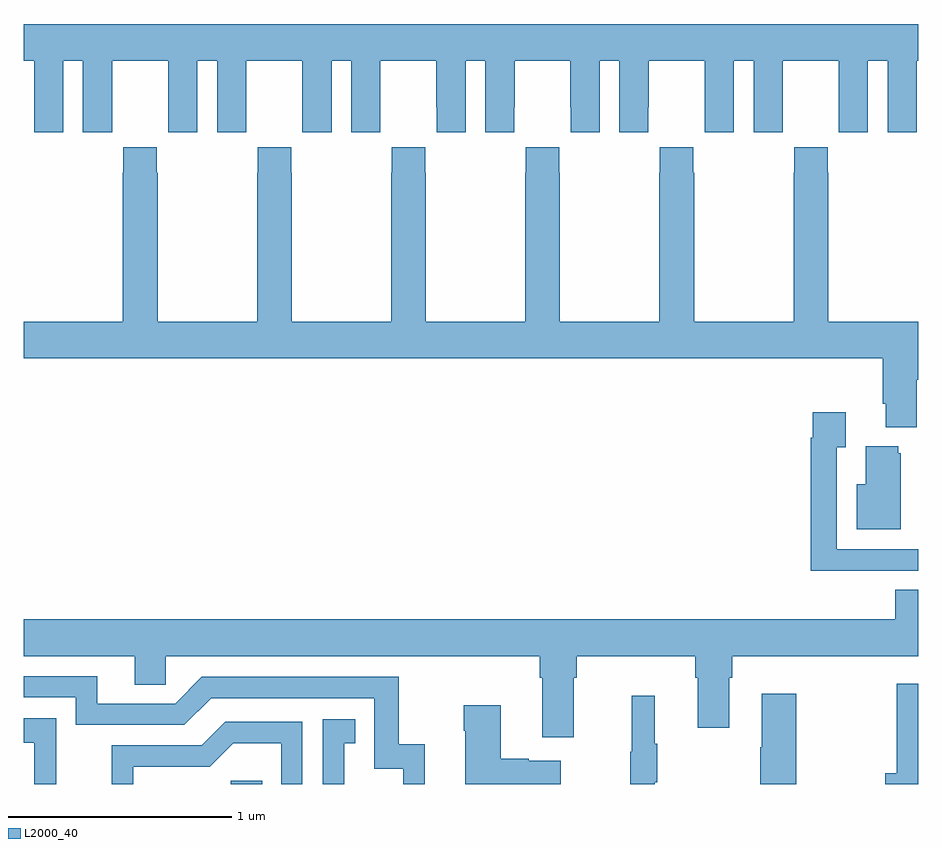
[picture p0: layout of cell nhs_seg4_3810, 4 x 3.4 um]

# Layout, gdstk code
import gdstk
lib = gdstk.Library(unit=1e-6, precision=1e-09)
def R(c, l, rs):  # rectangles x0, y0, x1, y1
    for r in rs: c.add(gdstk.rectangle(r[:2], r[2:], *l))
def P(c, l, *ps):  # polygons
    for p in ps: c.add(gdstk.Polygon(p, *l))
L2000_40 = (2000, 40)

nhs_seg4_3810 = lib.new_cell('nhs_seg4_3810')
R(nhs_seg4_3810, L2000_40, [(311.925,810.9,312.065,810.915)])
P(nhs_seg4_3810, L2000_40, [(311.176,814.136),(311.264,814.136),(311.264,813.816),(311.394,813.816),(311.394,813.928),(311.395,813.928),(311.395,814.136),(311.645,814.136),(311.645,813.928),(311.646,813.928),(311.646,813.816),(311.776,813.816),(311.776,814.136),(311.864,814.136),(311.864,813.816),(311.994,813.816),(311.994,813.928),(311.995,813.928),(311.995,814.136),(312.245,814.136),(312.245,813.928),(312.246,813.928),(312.246,813.816),(312.376,813.816),(312.376,814.136),(312.464,814.136),(312.464,813.816),(312.594,813.816),(312.594,813.928),(312.595,813.928),(312.595,814.136),(312.845,814.136),(312.845,813.928),(312.846,813.928),(312.846,813.816),(312.976,813.816),(312.976,814.136),(313.064,814.136),(313.064,813.816),(313.194,813.816),(313.194,813.928),(313.195,813.928),(313.195,814.136),(313.445,814.136),(313.445,813.928),(313.446,813.928),(313.446,813.816),(313.576,813.816),(313.576,814.136),(313.664,814.136),(313.664,813.816),(313.794,813.816),(313.794,813.928),(313.795,813.928),(313.795,814.136),(314.045,814.136),(314.045,813.928),(314.046,813.928),(314.046,813.816),(314.176,813.816),(314.176,814.136),(314.264,814.136),(314.264,813.816),(314.394,813.816),(314.394,813.928),(314.395,813.928),(314.395,814.136),(314.645,814.136),(314.645,813.928),(314.646,813.928),(314.646,813.816),(314.776,813.816),(314.776,814.136),(314.864,814.136),(314.864,813.816),(314.994,813.816),(314.994,813.928),(314.995,813.928),(314.995,814.136),(315,814.136),(315,814.3),(311,814.3),(311,814.136),(311.045,814.136),(311.045,813.928),(311.046,813.928),(311.046,813.816),(311.176,813.816)],
  [(314.995,812.708),(315,812.708),(315,812.968),(314.598,812.968),(314.598,813.635),(314.595,813.635),(314.595,813.748),(314.445,813.748),(314.445,813.635),(314.443,813.635),(314.443,812.968),(313.998,812.968),(313.998,813.635),(313.995,813.635),(313.995,813.748),(313.845,813.748),(313.845,813.635),(313.843,813.635),(313.843,812.968),(313.398,812.968),(313.398,813.635),(313.395,813.635),(313.395,813.748),(313.245,813.748),(313.245,813.635),(313.243,813.635),(313.243,812.968),(312.798,812.968),(312.798,813.635),(312.795,813.635),(312.795,813.748),(312.645,813.748),(312.645,813.635),(312.643,813.635),(312.643,812.968),(312.198,812.968),(312.198,813.635),(312.195,813.635),(312.195,813.748),(312.045,813.748),(312.045,813.635),(312.043,813.635),(312.043,812.968),(311.598,812.968),(311.598,813.635),(311.595,813.635),(311.595,813.748),(311.445,813.748),(311.445,813.635),(311.443,813.635),(311.443,812.968),(311,812.968),(311,812.804),(314.843,812.804),(314.843,812.602),(314.855,812.602),(314.855,812.495),(314.995,812.495)],
  [(314.813,811.854),(315,811.854),(315,811.95),(314.637,811.95),(314.637,812.407),(314.677,812.407),(314.677,812.563),(314.529,812.563),(314.529,812.45),(314.521,812.45),(314.521,811.853),(314.813,811.853)],
  [(314.923,812.379),(314.912,812.379),(314.912,812.41),(314.765,812.41),(314.765,812.242),(314.726,812.242),(314.726,812.039),(314.923,812.039)],
  [(313.459,811.376),(313.472,811.376),(313.472,811.472),(314.003,811.472),(314.003,811.376),(314.015,811.376),(314.015,811.152),(314.155,811.152),(314.155,811.376),(314.168,811.376),(314.168,811.472),(315,811.472),(315,811.769),(314.897,811.769),(314.897,811.636),(311,811.636),(311,811.472),(311.495,811.472),(311.495,811.345),(311.634,811.345),(311.634,811.472),(313.307,811.472),(313.307,811.376),(313.319,811.376),(313.319,811.11),(313.459,811.11)],
  [(312.794,811.078),(312.676,811.078),(312.676,811.38),(311.796,811.38),(311.676,811.26),(311.329,811.26),(311.329,811.383),(311,811.383),(311,811.287),(311.232,811.287),(311.232,811.164),(311.718,811.164),(311.838,811.284),(312.567,811.284),(312.567,810.969),(312.696,810.969),(312.696,810.9),(312.794,810.9)],
  [(315,811.348),(314.905,811.348),(314.905,810.949),(314.854,810.949),(314.854,810.9),(315,810.9)],
  [(314.454,811.303),(314.3,811.303),(314.3,811.064),(314.293,811.064),(314.293,810.9),(314.454,810.9)],
  [(313.823,810.907),(313.834,810.907),(313.834,811.081),(313.823,811.081),(313.823,811.294),(313.72,811.294),(313.72,811.044),(313.713,811.044),(313.713,810.9),(313.823,810.9)],
  [(313.402,811.003),(313.259,811.003),(313.259,811.013),(313.132,811.013),(313.132,811.252),(312.967,811.252),(312.967,811.139),(312.974,811.139),(312.974,810.9),(313.402,810.9)],
  [(311.144,810.989),(311.145,810.989),(311.145,811.195),(311,811.195),(311,811.085),(311.045,811.085),(311.045,810.9),(311.144,810.9)],
  [(312.433,811.083),(312.482,811.083),(312.482,811.189),(312.336,811.189),(312.336,810.9),(312.433,810.9)],
  [(311.49,810.978),(311.832,810.978),(311.936,811.082),(312.15,811.082),(312.15,810.9),(312.246,810.9),(312.246,811.179),(311.9,811.179),(311.795,811.074),(311.392,811.074),(311.392,810.9),(311.49,810.9)])

lib.write_gds('nhs_seg4_3810.gds')
